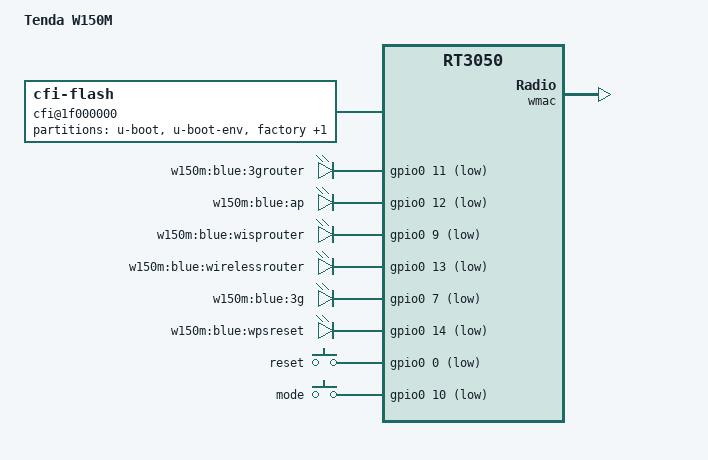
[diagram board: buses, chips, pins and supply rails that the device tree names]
/dts-v1/;

#include "rt3050.dtsi"

/ {
	compatible = "W150M", "ralink,rt3050-soc";
	model = "Tenda W150M";

	cfi@1f000000 {
		compatible = "cfi-flash";
		reg = <0x1f000000 0x800000>;
		bank-width = <2>;
		device-width = <2>;
		#address-cells = <1>;
		#size-cells = <1>;

		partition@0 {
			label = "u-boot";
			reg = <0x0 0x30000>;
			read-only;
		};

		partition@30000 {
			label = "u-boot-env";
			reg = <0x30000 0x10000>;
			read-only;
		};

		factory: partition@40000 {
			label = "factory";
			reg = <0x40000 0x10000>;
			read-only;
		};

		partition@50000 {
			label = "firmware";
			reg = <0x50000 0x3c8000>;
		};
	};

	gpio-leds {
		compatible = "gpio-leds";

		3grouter {
			label = "w150m:blue:3grouter";
			gpios = <&gpio0 11 1>;
		};

		ap {
			label = "w150m:blue:ap";
			gpios = <&gpio0 12 1>;
		};

		wisprouter {
			label = "w150m:blue:wisprouter";
			gpios = <&gpio0 9 1>;
		};

		wirelessrouter {
			label = "w150m:blue:wirelessrouter";
			gpios = <&gpio0 13 1>;
		};

		3g {
			label = "w150m:blue:3g";
			gpios = <&gpio0 7 1>;
		};

		wpsreset {
			label = "w150m:blue:wpsreset";
			gpios = <&gpio0 14 1>;
		};
	};

	gpio-keys-polled {
		compatible = "gpio-keys-polled";
		#address-cells = <1>;
		#size-cells = <0>;
		poll-interval = <20>;

		reset {
			label = "reset";
			gpios = <&gpio0 0 1>;
			linux,code = <0x198>;
		};

		mode {
			label = "mode";
			gpios = <&gpio0 10 1>;
			linux,code = <0x100>;
		};
	};
};

&pinctrl {
	state_default: pinctrl0 {
		gpio {
			ralink,group = "spi", "i2c", "jtag", "rgmii", "mdio", "uartf";
			ralink,function = "gpio";
		};
	};
};

&ethernet {
	mtd-mac-address = <&factory 0x4>;
};

&esw {
	mediatek,portmap = <0x2f>;
};

&wmac {
	ralink,mtd-eeprom = <&factory 0>;
};
